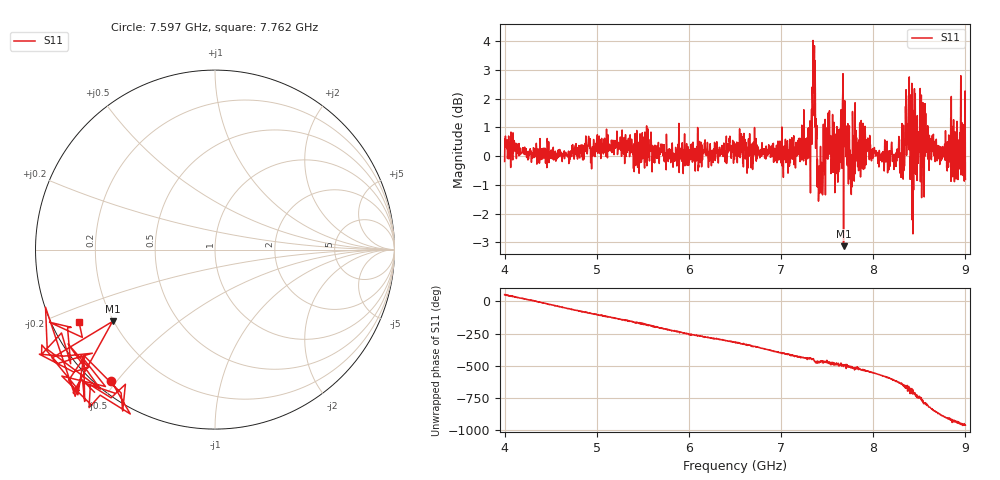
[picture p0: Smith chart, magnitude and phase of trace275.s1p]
! Created with skrf 1.8.0 (http://scikit-rf.org).
# Hz S RI R 50.0
!freq ReS11 ImS11
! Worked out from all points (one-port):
!   1601 points, 4 GHz to 9 GHz, reference 50 ohm
!   lowest |S11| = -3.1 dB at 7.678 GHz (marker M1), VSWR 5.61, Z = 9.77 - j15.2 ohm
!   |S11| at or under -10 dB: nowhere
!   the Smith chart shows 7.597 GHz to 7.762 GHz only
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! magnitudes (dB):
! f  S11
! 4 GHz  -0.2
! 4.625 GHz  -0.2
! 5.25 GHz  0.3
! 5.875 GHz  0.0
! 6.5 GHz  0.4
! 7.125 GHz  0.5
! 7.297 GHz  1.0
! 7.319 GHz  -1.3
! 7.347 GHz  4.0
! 7.362 GHz  3.8
! 7.397 GHz  -1.1
! 7.416 GHz  -1.0
! 7.509 GHz  -0.1
! 7.609 GHz  0.2
! 7.638 GHz  0.9
! 7.65 GHz  1.6
! 7.678 GHz  -3.1
! 7.75 GHz  -0.6
! 7.775 GHz  1.6
! 7.8 GHz  -0.6
! 7.828 GHz  0.2
! 8.312 GHz  1.1
! 8.375 GHz  0.4
! 8.425 GHz  0.3
! 8.497 GHz  0.8
! 8.875 GHz  -0.5
! 8.972 GHz  0.8
! 9 GHz  -0.8
